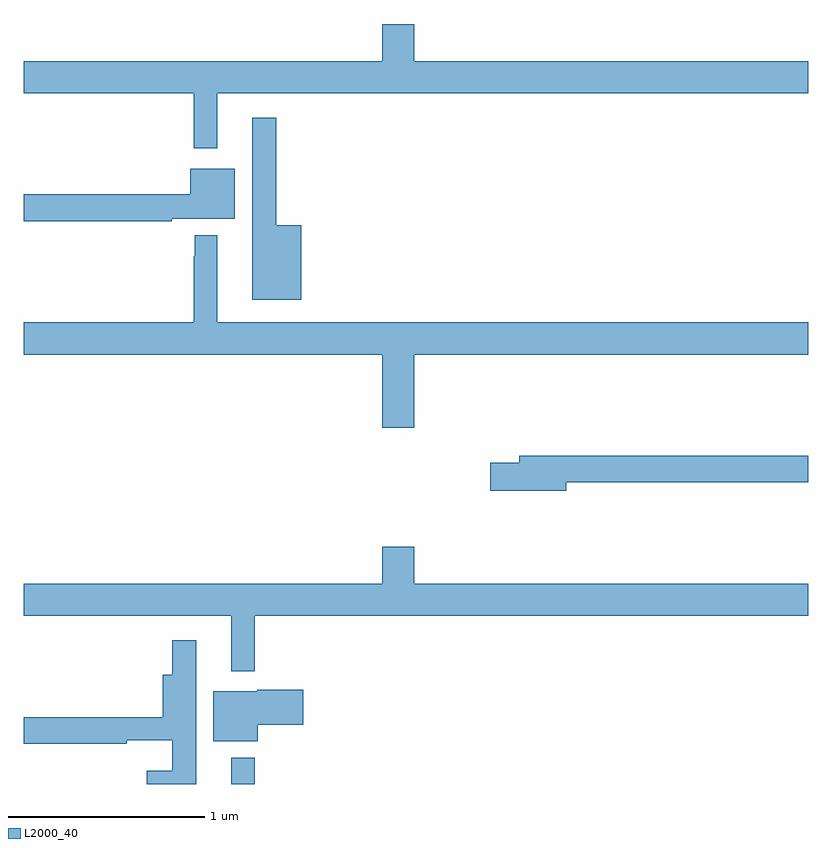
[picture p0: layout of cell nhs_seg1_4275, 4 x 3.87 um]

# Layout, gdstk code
import gdstk
lib = gdstk.Library(unit=1e-6, precision=1e-09)
def R(c, l, rs):  # rectangles x0, y0, x1, y1
    for r in rs: c.add(gdstk.rectangle(r[:2], r[2:], *l))
def P(c, l, *ps):  # polygons
    for p in ps: c.add(gdstk.Polygon(p, *l))
L2000_40 = (2000, 40)

nhs_seg1_4275 = lib.new_cell('nhs_seg1_4275')
R(nhs_seg1_4275, L2000_40, [(344.057,560.199,344.179,560.332)])
P(nhs_seg1_4275, L2000_40, [(343.987,563.72),(347,563.72),(347,563.884),(344.992,563.884),(344.992,564.073),(344.828,564.073),(344.828,563.884),(343,563.884),(343,563.72),(343.866,563.72),(343.866,563.439),(343.987,563.439)],
  [(344.416,563.047),(344.287,563.047),(344.287,563.596),(344.165,563.596),(344.165,562.667),(344.416,562.667)],
  [(343.754,563.081),(344.077,563.081),(344.077,563.335),(343.85,563.335),(343.85,563.204),(343,563.204),(343,563.068),(343.754,563.068)],
  [(344.992,562.388),(347,562.388),(347,562.552),(343.987,562.552),(343.987,562.996),(343.872,562.996),(343.872,562.889),(343.866,562.889),(343.866,562.552),(343,562.552),(343,562.388),(344.828,562.388),(344.828,562.014),(344.992,562.014)],
  [(345.766,561.736),(347,561.736),(347,561.872),(345.527,561.872),(345.527,561.836),(345.378,561.836),(345.378,561.694),(345.766,561.694)],
  [(344.179,561.056),(347,561.056),(347,561.22),(344.992,561.22),(344.992,561.409),(344.828,561.409),(344.828,561.22),(343,561.22),(343,561.056),(344.057,561.056),(344.057,560.775),(344.179,560.775)],
  [(343.879,560.932),(343.758,560.932),(343.758,560.755),(343.709,560.755),(343.709,560.54),(343,560.54),(343,560.404),(343.525,560.404),(343.525,560.423),(343.758,560.423),(343.758,560.266),(343.628,560.266),(343.628,560.199),(343.879,560.199)],
  [(344.194,560.501),(344.425,560.501),(344.425,560.679),(344.19,560.679),(344.19,560.671),(343.967,560.671),(343.967,560.417),(344.194,560.417)])

lib.write_gds('nhs_seg1_4275.gds')
